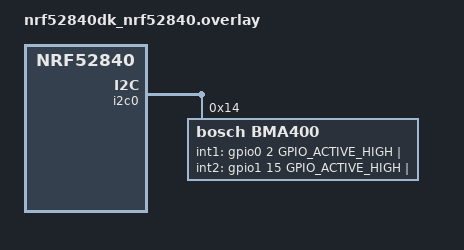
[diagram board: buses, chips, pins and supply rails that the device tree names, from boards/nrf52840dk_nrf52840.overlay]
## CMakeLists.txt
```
#
# Copyright (c) 2020 Bosch Sensortec GmbH
#
# SPDX-License-Identifier: Apache-2.0
#

cmake_minimum_required(VERSION 3.13.1)
find_package(Zephyr HINTS $ENV{ZEPHYR_BASE})
project(NONE)

FILE(GLOB app_sources src/*.c)
target_sources(app PRIVATE ${app_sources})
```

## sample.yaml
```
sample:
  name: BMA400 Sensor sample
tests:
  sample.sensor.bma400:
    harness: sensor
    tags: samples sensor
    platform_whitelist: nrf52840dk_nrf52840
```

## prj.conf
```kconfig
CONFIG_STDOUT_CONSOLE=y
CONFIG_I2C=y
CONFIG_SENSOR=y
CONFIG_CBPRINTF_FP_SUPPORT=y
CONFIG_BMA400=y
CONFIG_BMA400_TRIGGER_GLOBAL_THREAD=y
CONFIG_SHELL=y
CONFIG_I2C_SHELL=y
CONFIG_SENSOR_LOG_LEVEL_DBG=y
CONFIG_LOG=y

#
# Logging, debugging
#
CONFIG_CONSOLE=y
CONFIG_SHELL=y
CONFIG_GPIO_SHELL=y
CONFIG_I2C_SHELL=y
CONFIG_LOG=y
CONFIG_LOG_DEFAULT_LEVEL=4
# CONFIG_APP_LOG_LEVEL_DBG=y
CONFIG_SERIAL=y
CONFIG_SHELL_BACKEND_SERIAL=y
CONFIG_LOG_BACKEND_UART=y
CONFIG_SHELL_LOG_BACKEND=n
CONFIG_ASSERT=y
CONFIG_STACK_CANARIES=y
CONFIG_DEBUG=y
CONFIG_DEBUG_OPTIMIZATIONS=y
CONFIG_UART_CONSOLE=y

#
# USB console/shell
#
CONFIG_USB_DEVICE_STACK=y
CONFIG_USB_DEVICE_PRODUCT="Matter USB"
CONFIG_UART_LINE_CTRL=y
CONFIG_USB_CDC_ACM_LOG_LEVEL_WRN=y
```

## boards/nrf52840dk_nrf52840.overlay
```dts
&i2c0 {
	bma400@14 {
		status = "okay";
		compatible = "bosch,bma400";
		reg = <0x14>;
		int1-gpios = <&gpio0 2 GPIO_ACTIVE_HIGH | GPIO_PULL_UP>;
		int2-gpios = <&gpio1 15 GPIO_ACTIVE_HIGH | GPIO_PULL_UP>;
	};
};
```

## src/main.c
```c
/*
 * Copyright (c) 2019 Nordic Semiconductor ASA
 *
 * SPDX-License-Identifier: Apache-2.0
 */

#include <stdio.h>
#include <zephyr/zephyr.h>
#include <zephyr/device.h>
#include <zephyr/drivers/sensor.h>
#include <usb/usb_device.h>

static void fetch_and_display(const struct device *sensor)
{
	static unsigned int count;
	struct sensor_value accel[3];
	struct sensor_value temperature;
	const char *overrun = "";
	int rc = sensor_sample_fetch(sensor);

	++count;
	if (rc == -EBADMSG) {
		/* Sample overrun.  Ignore in polled mode. */
		if (IS_ENABLED(CONFIG_BMA400_TRIGGER)) {
			overrun = "[OVERRUN] ";
		}
		rc = 0;
	}
	if (rc == 0) {
		rc = sensor_channel_get(sensor,
					SENSOR_CHAN_ACCEL_XYZ,
					accel);
	}
	if (rc < 0) {
		printf("ERROR: Update failed: %d\n", rc);
	} else {
		printf("#%u @ %u ms: %sx %f , y %f , z %f",
		       count, k_uptime_get_32(), overrun,
		       sensor_value_to_double(&accel[0]),
		       sensor_value_to_double(&accel[1]),
		       sensor_value_to_double(&accel[2]));
	}

    if (rc == 0) {
        rc = sensor_channel_get(sensor, SENSOR_CHAN_DIE_TEMP, &temperature);
        if (rc < 0) {
            printf("\nERROR: Unable to read temperature:%d\n", rc);
        } else {
            printf(", t %f\n", sensor_value_to_double(&temperature));
        }
    }
}

#ifdef CONFIG_BMA400_TRIGGER
static void trigger_handler(const struct device *dev,
			    const struct sensor_trigger *trig)
{
	fetch_and_display(dev);
}
#endif

void main(void)
{
	/* Init USB for UART console */
	usb_enable(NULL);

	const struct device *sensor = DEVICE_DT_GET_ANY(bosch_bma400);

	if (sensor == NULL) {
		printf("No device found\n");
		return;
	}
	if (!device_is_ready(sensor)) {
		printf("Device %s is not ready\n", sensor->name);
		return;
	}

#if CONFIG_BMA400_TRIGGER
	{
		struct sensor_trigger trig;
		int rc;

		enum sensor_attribute attr = SENSOR_ATTR_LOWER_THRESH;
		const struct sensor_value val = { .val1 = 0, .val2 = 0 }; // TODO: Give these proper values

		rc = sensor_attr_set(sensor, SENSOR_CHAN_ACCEL_XYZ, attr, &val);
		if (rc != 0) {
			printf("Failed to set sensor attribute: %d\n", rc);
			return;
		}


		trig.type = SENSOR_TRIG_DATA_READY;
		// trig.type = SENSOR_TRIG_THRESHOLD;
		trig.chan = SENSOR_CHAN_ACCEL_XYZ;

		rc = sensor_trigger_set(sensor, &trig, trigger_handler);
		if (rc != 0) {
			printf("Failed to set trigger: %d\n", rc);
			return;
		}

		printf("Waiting for triggers\n");
		while (true) {
			k_sleep(K_MSEC(2000));
		}
	}
#else /* CONFIG_BMA400_TRIGGER */
	printf("Polling at 0.5 Hz\n");
	while (true) {
		fetch_and_display(sensor);
		k_sleep(K_MSEC(2000));
	}
#endif /* CONFIG_BMA400_TRIGGER */
}
```
